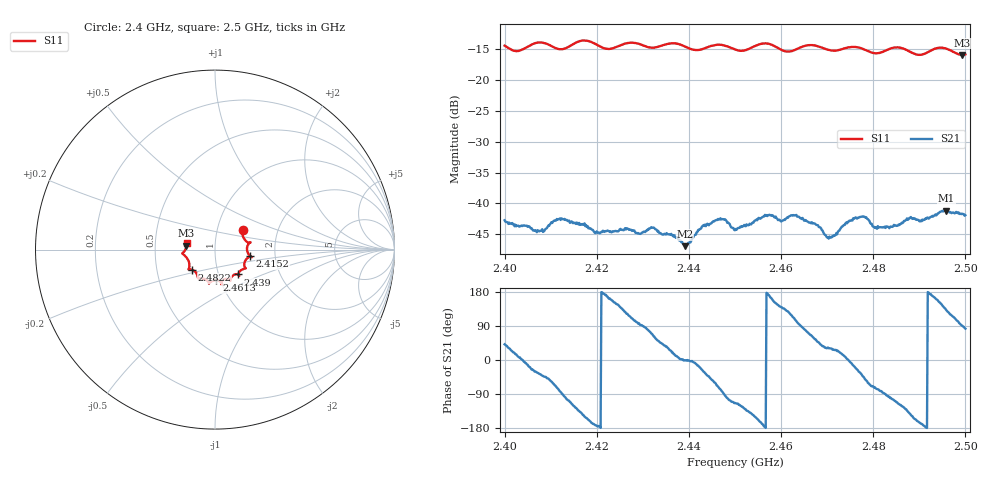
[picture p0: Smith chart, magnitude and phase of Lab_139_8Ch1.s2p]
# Hz S RI R
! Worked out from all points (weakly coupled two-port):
!   601 points, 2.4 GHz to 2.5 GHz, reference 50 ohm
!   highest |S21| = -41.16 dB at 2.4958 GHz (marker M1); lowest = -46.9 dB at 2.4392 GHz (marker M2)
!   lowest |S11| = -15.9 dB at 2.4993 GHz (marker M3), VSWR 1.38, Z = 36.3 + j1.64 ohm
!   |S11| at or under -10 dB: start of sweep to end of sweep
!   S12 and S22 are empty: the file has one direction only
!   S11 on the Smith chart (normalised r, x): 2.4 GHz: 1.33, +0.31; 2.4152 GHz: 1.48, -0.11; 2.439 GHz: 1.24, -0.36; 2.4613 GHz: 0.96, -0.34; 2.4822 GHz: 0.76, -0.17; 2.5 GHz: 0.73, +0.05
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2.4e9  0.1547 0.1113  0.00548 0.00482  0 0  0 0
2.402833e9  0.1595 0.0652  0.00648 0.00113  0 0  0 0
2.407333e9  0.1982 0.0394  0.00492 -0.00343  0 0  0 0
2.411833e9  0.1781 0.00881  0.00129 -0.00738  0 0  0 0
2.415167e9  0.1954 -0.0364  -0.00374 -0.00583  0 0  0 0
2.416667e9  0.2048 -0.0427  -0.00515 -0.00433  0 0  0 0
2.420167e9  0.1878 -0.0427  -0.00576 -0.000478  0 0  0 0
2.433333e9  0.132 -0.1322  0.00379 0.00463  0 0  0 0
2.439e9  0.128 -0.1384  0.00461 -9.99e-05  0 0  0 0
2.439167e9  0.1268 -0.1378  0.0045 -3.43e-05  0 0  0 0
2.446333e9  0.0859 -0.1739  0.00249 -0.00705  0 0  0 0
2.45e9  0.0685 -0.1639  -0.00241 -0.00557  0 0  0 0
2.456667e9  0.0391 -0.195  -0.008 -9.8e-05  0 0  0 0
2.461333e9  0.00745 -0.1704  -0.00485 0.00598  0 0  0 0
2.466667e9  -0.0335 -0.1897  0.00313 0.0063  0 0  0 0
2.4705e9  -0.0477 -0.1688  0.00461 0.00277  0 0  0 0
2.477333e9  -0.0956 -0.1549  0.00631 -0.00457  0 0  0 0
2.482167e9  -0.1282 -0.1122  0.000359 -0.00642  0 0  0 0
2.483333e9  -0.1397 -0.1107  -0.000833 -0.00636  0 0  0 0
2.495833e9  -0.1795 -0.0184  -0.00583 0.00652  0 0  0 0
2.499333e9  -0.1588 0.022  -3.33e-05 0.00825  0 0  0 0
2.5e9  -0.1583 0.034  0.00102 0.00796  0 0  0 0
